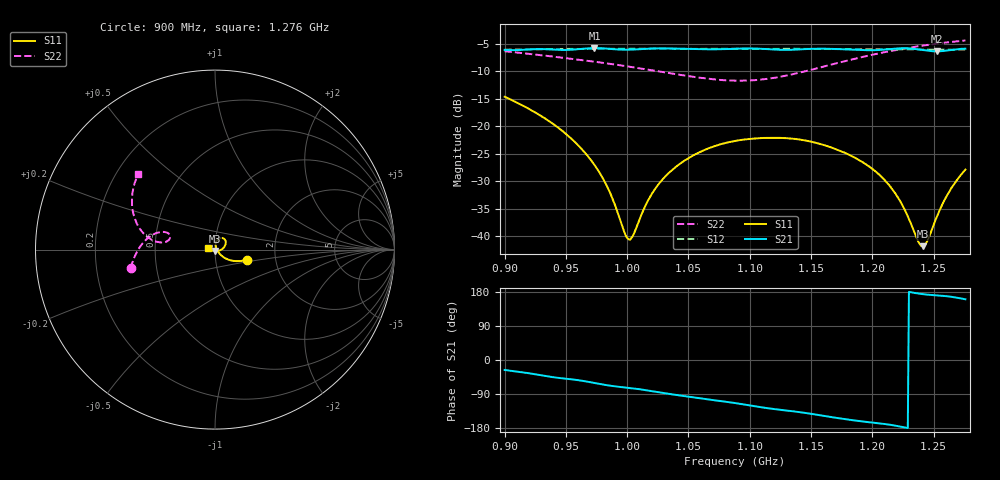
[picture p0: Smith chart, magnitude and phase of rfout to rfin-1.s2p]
!Agilent Technologies,E8358A,US41080382,A.04.25
!Agilent E8358A: A.04.25
!Date: Wednesday, October 26, 2016 13:21:54
!Correction: S11(Full 2 Port SOLT,1,2) S21(Full 2 Port SOLT,1,2) S12(Full 2 Port SOLT,1,2) S22(Full 2 Port SOLT,1,2)
!S2P File: Measurements: S11, S21, S12, S22:
# Hz S  dB  R 50
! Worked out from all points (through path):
!   401 points, 900 MHz to 1.276 GHz, reference 50 ohm
!   highest |S21| = -5.80 dB at 973.3 MHz (marker M1); lowest = -6.4 dB at 1.252 GHz (marker M2)
!   group delay of S21, straight-line fit = 1.29 ns
!   lowest |S11| = -41.8 dB at 1.241 GHz (marker M3), VSWR 1.02, Z = 49.9 - j0.812 ohm
!   |S11| at or under -10 dB: start of sweep to end of sweep
!   |S22| runs from -11.7 to -4.4 dB; largest |S21 - S12| = 0.022
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9e8  -14.65 -17.9  -6.14 -26.3  -6.09 -25.8  -6.38 -167.7
9.3666e8  -19.13 -33.4  -6.05 -44.0  -5.99 -43.4  -7.28 -178.9
9.6298e8  -24.16 -41.8  -5.94 -54.7  -5.97 -56.1  -7.99 173.9
9.7332e8  -27.03 -42.8  -5.80 -60.6  -5.96 -60.9  -8.28 171.3
9.846e8  -31.38 -39.4  -5.93 -67.0  -5.94 -66.2  -8.63 168.7
9.9776e8  -39.27 -6.4  -6.11 -72.4  -5.93 -72.4  -9.05 165.9
1.00152e9  -40.57 20.8  -6.11 -73.7  -5.93 -74.2  -9.18 165.2
1.00434e9  -40.03 41.7  -6.09 -74.8  -5.93 -75.5  -9.29 164.7
1.01562e9  -34.09 77.9  -5.94 -79.7  -5.92 -80.8  -9.67 163.0
1.02596e9  -30.43 82.7  -5.87 -85.1  -5.92 -85.7  -10.05 161.7
1.05228e9  -25.50 76.3  -5.97 -98.0  -5.95 -97.7  -10.98 160.6
1.088e9  -22.67 62.1  -5.94 -113.6  -5.92 -114.5  -11.72 164.6
1.15098e9  -22.85 33.5  -5.94 -142.5  -5.97 -143.6  -9.71 172.4
1.18858e9  -26.06 12.6  -6.16 -160.8  -5.99 -160.7  -7.60 166.4
1.21396e9  -30.74 -6.8  -6.00 -170.6  -6.03 -172.7  -6.38 158.8
1.22336e9  -33.83 -18.4  -5.84 -176.0  -6.05 -176.9  -6.01 155.7
1.23746e9  -40.89 -65.2  -6.06 175.5  -6.06 176.6  -5.49 150.5
1.24122e9  -41.78 -93.6  -6.19 173.8  -6.07 174.8  -5.37 149.1
1.24498e9  -40.81 -122.0  -6.30 172.5  -6.07 173.1  -5.24 147.7
1.2525e9  -36.56 -155.6  -6.41 170.5  -6.10 169.6  -5.01 144.8
1.26378e9  -31.52 -177.1  -6.18 167.1  -6.11 164.6  -4.71 140.3
1.276e9  -27.88 170.2  -5.92 160.2  -6.11 159.0  -4.43 135.6
